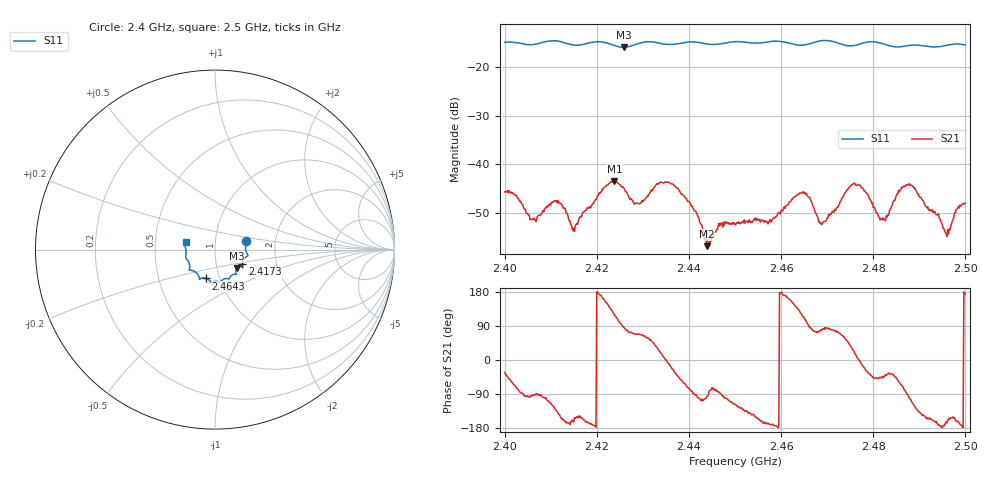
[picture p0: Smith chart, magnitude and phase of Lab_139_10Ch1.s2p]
# Hz S RI R 50
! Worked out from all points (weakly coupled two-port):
!   601 points, 2.4 GHz to 2.5 GHz, reference 50 ohm
!   highest |S21| = -43.42 dB at 2.4238 GHz (marker M1); lowest = -56.9 dB at 2.4438 GHz (marker M2)
!   lowest |S11| = -15.9 dB at 2.4258 GHz (marker M3), VSWR 1.38, Z = 62.3 - j13.2 ohm
!   |S11| at or under -10 dB: start of sweep to end of sweep
!   S12 and S22 are empty: the file has one direction only
!   S11 on the Smith chart (normalised r, x): 2.4 GHz: 1.41, +0.14; 2.4173 GHz: 1.34, -0.23; 2.4643 GHz: 0.86, -0.28; 2.5 GHz: 0.72, +0.06
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2.4e9  0.1734 0.0495  0.00433 -0.00284  0 0  0 0
2.406e9  0.1707 0.00127  -0.000219 -0.00268  0 0  0 0
2.410833e9  0.1837 -0.0342  -0.00254 -0.00334  0 0  0 0
2.414833e9  0.1602 -0.0542  -0.00195 -0.000694  0 0  0 0
2.416667e9  0.153 -0.0744  -0.00256 -0.0013  0 0  0 0
2.417333e9  0.1524 -0.0818  -0.00306 -0.00118  0 0  0 0
2.423833e9  0.1382 -0.0939  -0.00339 0.00583  0 0  0 0
2.425833e9  0.1218 -0.1034  0.000274 0.00573  0 0  0 0
2.429167e9  0.1162 -0.1322  0.00142 0.00366  0 0  0 0
2.433333e9  0.1129 -0.1371  0.00548 0.00299  0 0  0 0
2.439833e9  0.0799 -0.1626  0.00118 -0.00399  0 0  0 0
2.443833e9  0.0645 -0.1609  -0.000174 -0.00142  0 0  0 0
2.45e9  0.0293 -0.1807  -0.00107 -0.00213  0 0  0 0
2.4575e9  -0.0165 -0.182  -0.00259 -0.000493  0 0  0 0
2.464333e9  -0.05 -0.1606  -0.00269 0.0043  0 0  0 0
2.466667e9  -0.0759 -0.1597  0.000554 0.00399  0 0  0 0
2.469167e9  -0.0876 -0.1667  0.000384 0.00252  0 0  0 0
2.476e9  -0.1163 -0.12  0.0061 0.0019  0 0  0 0
2.483333e9  -0.1407 -0.0899  0.00246 -0.00169  0 0  0 0
2.488e9  -0.1599 -0.0509  -0.0013 -0.00594  0 0  0 0
2.496e9  -0.1671 0.0193  -0.00175 -0.000428  0 0  0 0
2.5e9  -0.1638 0.0422  -0.00393 0.000428  0 0  0 0
